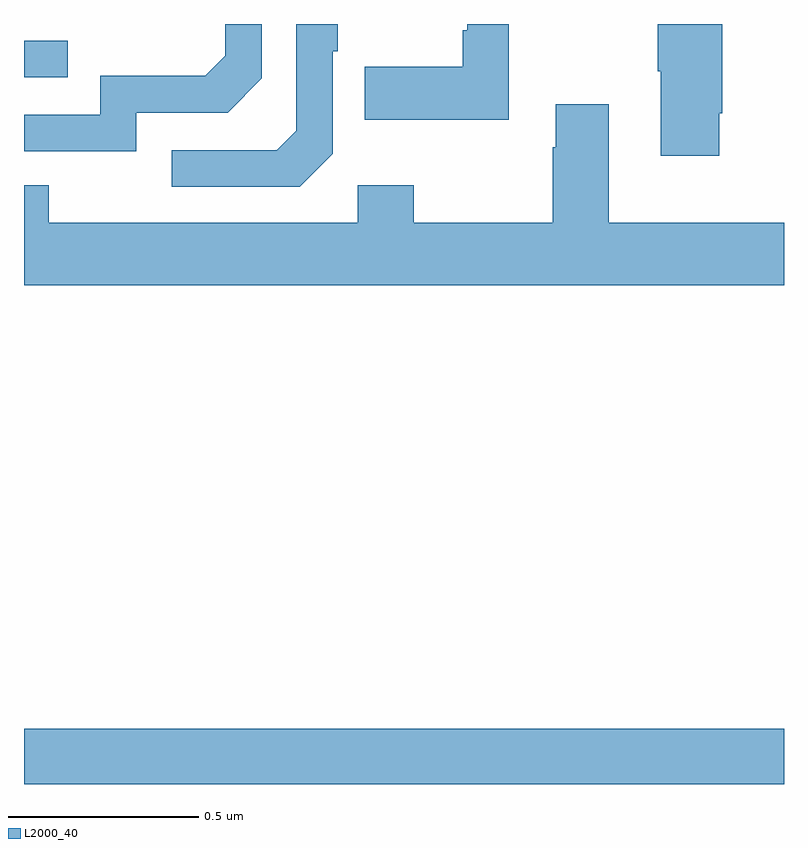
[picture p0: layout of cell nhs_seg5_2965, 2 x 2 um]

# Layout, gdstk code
import gdstk
lib = gdstk.Library(unit=1e-6, precision=1e-09)
def R(c, l, rs):  # rectangles x0, y0, x1, y1
    for r in rs: c.add(gdstk.rectangle(r[:2], r[2:], *l))
def P(c, l, *ps):  # polygons
    for p in ps: c.add(gdstk.Polygon(p, *l))
L2000_40 = (2000, 40)

nhs_seg5_2965 = lib.new_cell('nhs_seg5_2965')
R(nhs_seg5_2965, L2000_40, [(151,836.799,153,836.944), (151,838.659,151.115,838.755)])
P(nhs_seg5_2965, L2000_40, [(152.275,838.799),(152.166,838.799),(152.166,838.783),(152.154,838.783),(152.154,838.687),(151.897,838.687),(151.897,838.547),(152.275,838.547)],
  [(151.812,838.458),(151.812,838.727),(151.825,838.727),(151.825,838.799),(151.716,838.799),(151.716,838.518),(151.665,838.467),(151.389,838.467),(151.389,838.371),(151.725,838.371)],
  [(152.83,838.564),(152.838,838.564),(152.838,838.799),(152.668,838.799),(152.668,838.675),(152.675,838.675),(152.675,838.452),(152.83,838.452)],
  [(151.296,838.566),(151.536,838.566),(151.626,838.656),(151.626,838.799),(151.53,838.799),(151.53,838.716),(151.477,838.663),(151.2,838.663),(151.2,838.56),(151,838.56),(151,838.464),(151.296,838.464)],
  [(153,838.276),(152.539,838.276),(152.539,838.588),(152.399,838.588),(152.399,838.475),(152.392,838.475),(152.392,838.276),(152.025,838.276),(152.025,838.375),(151.878,838.375),(151.878,838.276),(151.065,838.276),(151.065,838.375),(151,838.375),(151,838.112),(153,838.112)])

lib.write_gds('nhs_seg5_2965.gds')
